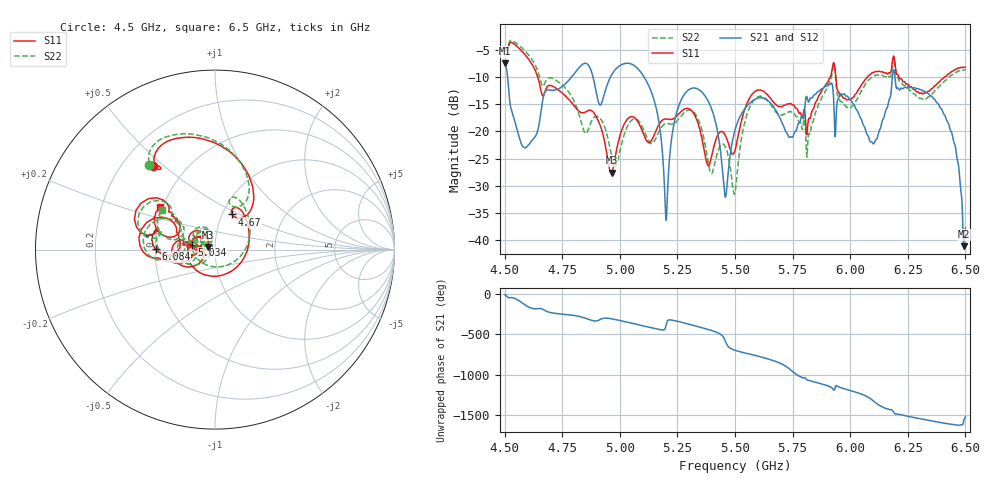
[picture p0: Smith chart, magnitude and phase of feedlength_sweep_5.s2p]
! TOUCHSTONE file generated by CST MICROWAVE STUDIO
! Date and time: Fri Nov 29 14:48:26 2024
! Project name: dual_circularly_polarized_waveguide_antenna.cst
! Parameters = {airCoaxOuterDiameter=3; chamferAngle=45; chamferWidth=24; connectorLength=10; drillingHoleDiameter=4.1; feedLength=90; flareDiameter=130; flareLength=70; gratingDistance=0; gratingGap=1.90274; outletLength=60; polarizerLength=134; probe1Diameter=1.3; probe1Distance=14.068; probe1Leng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
! Header version: 2018
! Port assignment regex: !\s*Touchstone port\s*([0-9]+)\s*=\s*(CST MWS port|CST DS port)\s*([0-9]+|Zmin|Zmax)\s*\(\"(.*)\"\)(\s*mode\s*([0-9]+))?.*
! Touchstone port assignment:
! Touchstone port 1 = CST MWS port 1 ("Input1")
! Touchstone port 2 = CST MWS port 2 ("Input2")
# GHz S MA R 50
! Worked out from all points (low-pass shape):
!   1001 points, 4.5 GHz to 6.5 GHz, reference 50 ohm
!   highest |S21| = -7.47 dB at 4.5 GHz (marker M1); lowest = -41.1 dB at 6.492 GHz (marker M2)
!   |S21| within 3 dB of the highest: 4.782 GHz to 4.886 GHz (104.5 MHz wide, 2.16 % of centre); 4.954 GHz to 5.112 GHz (157.6 MHz wide, 3.13 % of centre)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
!   lowest |S11| = -27.6 dB at 4.964 GHz (marker M3), VSWR 1.09, Z = 46.2 + j1.43 ohm
!   |S11| at or under -10 dB: 4.644 GHz to 5.913 GHz (1.27 GHz wide, 24.1 % of centre); 5.938 GHz to 6.075 GHz (137.5 MHz wide, 2.29 % of centre); 6.211 GHz to 6.409 GHz (198 MHz wide, 3.14 % of centre)
!   |S22| runs from -31.5 to -3.3 dB; largest |S21 - S12| = 2e-05
!   S11 on the Smith chart (normalised r, x): 4.5 GHz: 0.33, +0.46; 4.67 GHz: 1.11, +0.46; 5.034 GHz: 0.77, +0.04; 6.084 GHz: 0.50, +0.00; 6.5 GHz: 0.48, +0.27
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4.5  0.5784 126.4  0.4233 -6.6  0.4233 -6.6  0.597 128.2
4.584  0.5212 76.2  0.07151 -126.5  0.07151 -126.5  0.5608 82.2
4.67  0.2175 64.1  0.2151 163.8  0.2151 163.8  0.2649 71.4
4.834  0.1482 -67.6  0.4068 74.6  0.4068 74.6  0.1178 -40.5
4.964  0.0417 158.3  0.3295 52.6  0.3295 52.6  0.0601 104.8
5.034  0.1306 168.8  0.4228 10.0  0.4228 10.0  0.1125 153.7
5.168  0.1138 172.8  0.1283 -78.5  0.1283 -78.5  0.09772 154.8
5.202  0.1302 164.1  0.01531 -9.8  0.01531 -9.8  0.1179 149.1
5.292  0.1631 149.8  0.2344 -8.2  0.2344 -8.2  0.1556 139.4
5.396  0.05608 174.8  0.1659 -90.6  0.1659 -90.6  0.04126 131.6
5.458  0.09176 168.2  0.02495 134.8  0.02495 134.8  0.07208 146.9
5.5  0.06693 -154.3  0.1032 22.7  0.1032 22.7  0.02722 -163.2
5.59  0.2354 -168.4  0.1994 -42.9  0.1994 -42.9  0.2019 -167.5
5.742  0.1803 168.2  0.08966 137.9  0.08966 137.9  0.1531 164.0
5.834  0.1538 -160.8  0.2027 -2.7  0.2027 -2.7  0.1178 -156.4
5.926  0.4191 177.0  0.2331 -102.7  0.2331 -102.7  0.3935 178.8
6.084  0.3306 179.3  0.08291 148.8  0.08291 148.8  0.3018 -178.0
6.168  0.346 162.5  0.1924 10.3  0.1924 10.3  0.3193 163.6
6.39  0.2894 165.1  0.1659 -152.7  0.1659 -152.7  0.2624 167.1
6.46  0.3726 154.4  0.06408 174.5  0.06406 174.5  0.3491 156.1
6.492  0.3874 145.5  0.008832 -142.1  0.00885 -142.1  0.3658 146.6
6.5  0.3884 142.6  0.01296 -83.0  0.01295 -83.0  0.3674 143.5
